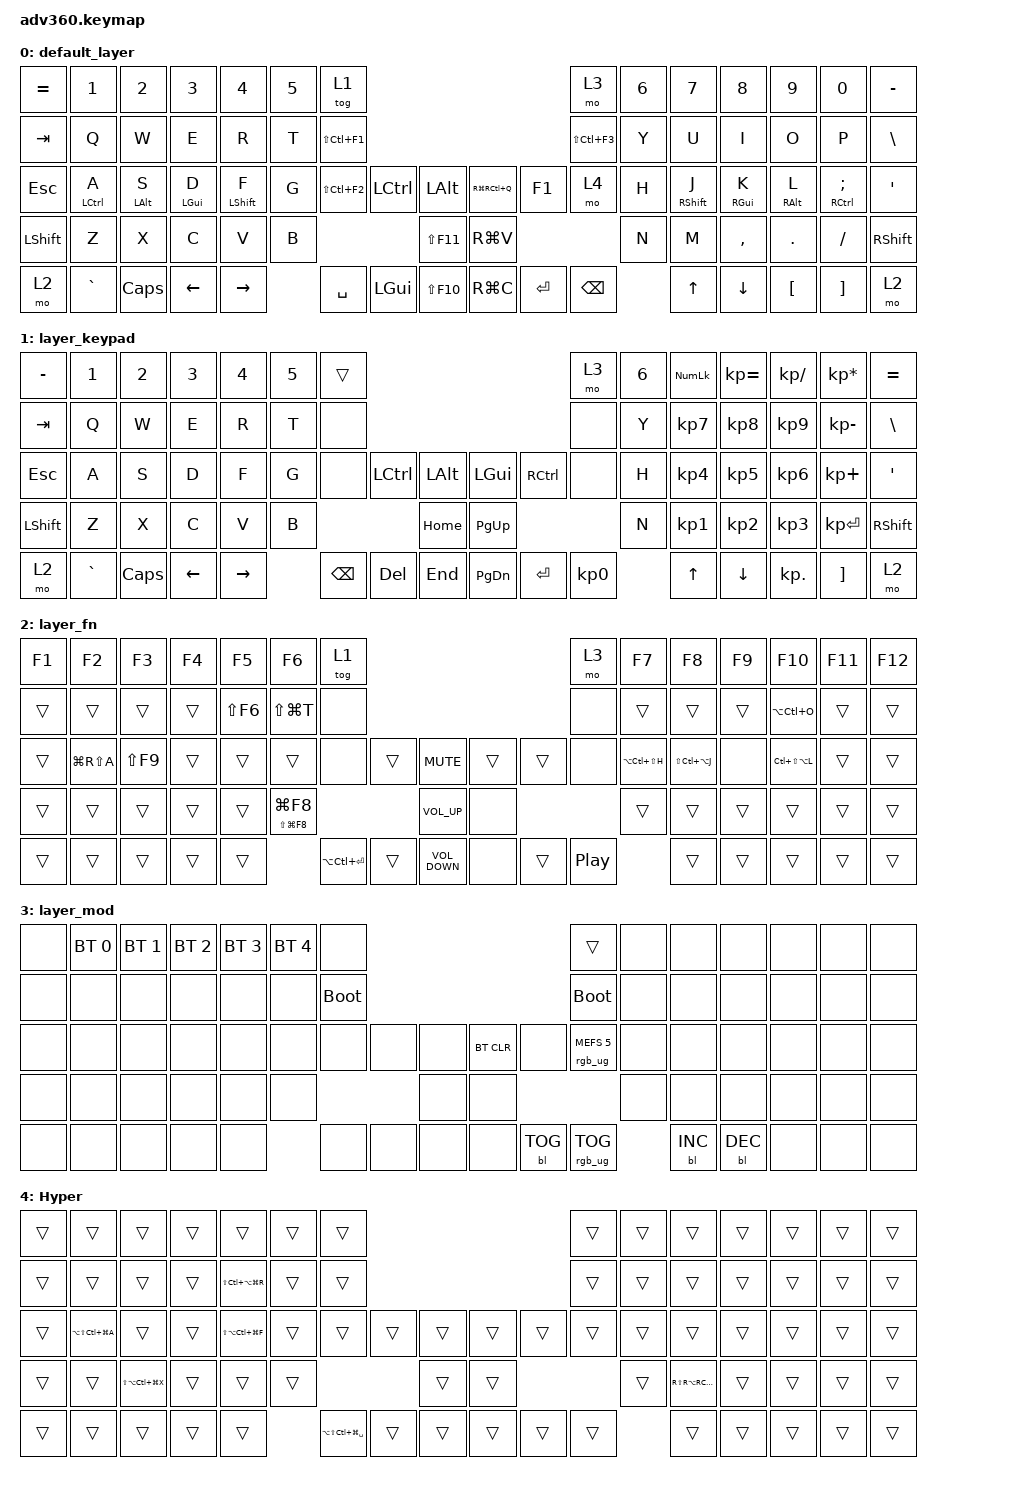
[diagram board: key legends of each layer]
/*
 * Copyright (c) 2020 The ZMK Contributors
 *
 * SPDX-License-Identifier: MIT
 */
/* THIS FILE WAS GENERATED!
 *
 * This file was generated automatically. You may or may not want to
 * edit it directly.
 */

#include <behaviors.dtsi>
#include <dt-bindings/zmk/backlight.h>
#include <dt-bindings/zmk/bt.h>
#include <dt-bindings/zmk/keys.h>
#include <dt-bindings/zmk/rgb.h>

/ {
    behaviors {
        #include "macros.dtsi"
    #include "version.dtsi"

        hm: homerow_mods {
            compatible = "zmk,behavior-hold-tap";
            label = "HOMEROW_MODS";
            #binding-cells = <2>;
            tapping-term-ms = <250>;
            flavor = "tap-preferred";
            bindings = <&kp>, <&kp>;

            require-prior-idle-ms = <150>;
            quick-tap-ms = <200>;
        };
    };

    keymap {
        compatible = "zmk,keymap";

        default_layer {
            bindings = <
&kp EQUAL  &kp N1       &kp N2          &kp N3          &kp N4            &kp N5  &tog 1                                                                &mo 3           &kp N6  &kp N7        &kp N8           &kp N9      &kp N0          &kp MINUS
&kp TAB    &kp Q        &kp W           &kp E           &kp R             &kp T   &kp LS(LC(F1))                                                        &kp LS(LC(F3))  &kp Y   &kp U         &kp I            &kp O       &kp P           &kp BSLH
&kp ESC    &hm LCTRL A  &hm LEFT_ALT S  &hm LEFT_GUI D  &hm LEFT_SHIFT F  &kp G   &kp LS(LC(F2))  &kp LCTRL  &kp LALT         &kp RG(RC(Q))  &kp F1     &mo 4           &kp H   &hm RSHIFT J  &hm RIGHT_GUI K  &hm RALT L  &hm RCTRL SEMI  &kp SQT
&kp LSHFT  &kp Z        &kp X           &kp C           &kp V             &kp B                              &kp LS(F11)      &kp RG(V)                                 &kp N   &kp M         &kp COMMA        &kp DOT     &kp FSLH        &kp RSHFT
&mo 2      &kp GRAVE    &kp CAPSLOCK    &kp LEFT        &kp RIGHT                 &kp SPACE       &kp LGUI   &kp LS(F10)      &kp RG(C)      &kp ENTER  &kp BSPC                &kp UP        &kp DOWN         &kp LBKT    &kp RBKT        &mo 2
            >;
        };

        layer_keypad {
            bindings = <
&kp MINUS  &kp N1     &kp N2    &kp N3    &kp N4     &kp N5  &trans                                                   &mo 3      &kp N6  &kp KP_NUM  &kp KP_EQUAL  &kp KP_DIVIDE  &kp KP_MULTIPLY  &kp EQUAL
&kp TAB    &kp Q      &kp W     &kp E     &kp R      &kp T   &none                                                    &none      &kp Y   &kp KP_N7   &kp KP_N8     &kp KP_N9      &kp KP_MINUS     &kp BSLH
&kp ESC    &kp A      &kp S     &kp D     &kp F      &kp G   &none     &kp LCTRL  &kp LALT      &kp LGUI   &kp RCTRL  &none      &kp H   &kp KP_N4   &kp KP_N5     &kp KP_N6      &kp KP_PLUS      &kp SQT
&kp LSHFT  &kp Z      &kp X     &kp C     &kp V      &kp B                        &kp HOME      &kp PG_UP                        &kp N   &kp KP_N1   &kp KP_N2     &kp KP_N3      &kp KP_ENTER     &kp RSHFT
&mo 2      &kp GRAVE  &kp CAPS  &kp LEFT  &kp RIGHT          &kp BSPC  &kp DEL    &kp END       &kp PG_DN  &kp ENTER  &kp KP_N0          &kp UP      &kp DOWN      &kp KP_DOT     &kp RBKT         &mo 2
            >;
        };

        layer_fn {
            bindings = <
&kp F1  &kp F2         &kp F3      &kp F4  &kp F5      &kp F6                 &tog 1                                                            &mo 3             &kp F7             &kp F8             &kp F9  &kp F10            &kp F11  &kp F12
&trans  &trans         &trans      &trans  &kp LS(F6)  &kp LS(LG(T))          &none                                                             &none             &trans             &trans             &trans  &kp LA(LC(O))      &trans   &trans
&trans  &kp LG(RS(A))  &kp LS(F9)  &trans  &trans      &trans                 &none              &trans  &kp C_MUTE             &trans  &trans  &none             &kp LA(LC(LS(H)))  &kp LS(LC(LA(J)))  &none   &kp LC(LS(LA(L)))  &trans   &trans
&trans  &trans         &trans      &trans  &trans      &hm LS(LG(F8)) LG(F8)                             &kp C_VOLUME_UP        &none                             &trans             &trans             &trans  &trans             &trans   &trans
&trans  &trans         &trans      &trans  &trans                             &kp LA(LC(ENTER))  &trans  &kp C_VOLUME_DOWN      &none   &trans  &kp C_PLAY_PAUSE                     &trans             &trans  &trans             &trans   &trans
            >;
        };

        layer_mod {
            bindings = <
&none  &bt BT_SEL 0  &bt BT_SEL 1  &bt BT_SEL 2  &bt BT_SEL 3  &bt BT_SEL 4  &none                                                  &trans                  &none  &none       &none       &none  &none  &none
&none  &none         &none         &none         &none         &none         &bootloader                                            &bootloader             &none  &none       &none       &none  &none  &none
&none  &none         &none         &none         &none         &none         &none        &none  &none      &bt BT_CLR  &none       &rgb_ug RGB_MEFS_CMD 5  &none  &none       &none       &none  &none  &none
&none  &none         &none         &none         &none         &none                             &none      &none                                           &none  &none       &none       &none  &none  &none
&none  &none         &none         &none         &none                       &none        &none  &none      &none       &bl BL_TOG  &rgb_ug RGB_TOG                &bl BL_INC  &bl BL_DEC  &none  &none  &none
            >;
        };

        Hyper {
            bindings = <
&trans  &trans                 &trans                 &trans  &trans                 &trans  &trans                                                         &trans  &trans  &trans                 &trans  &trans  &trans  &trans
&trans  &trans                 &trans                 &trans  &kp LS(LC(LA(LG(R))))  &trans  &trans                                                         &trans  &trans  &trans                 &trans  &trans  &trans  &trans
&trans  &kp LA(LS(LC(LG(A))))  &trans                 &trans  &kp LS(LA(LC(LG(F))))  &trans  &trans                     &trans  &trans      &trans  &trans  &trans  &trans  &trans                 &trans  &trans  &trans  &trans
&trans  &trans                 &kp LS(LA(LC(LG(X))))  &trans  &trans                 &trans                                     &trans      &trans                  &trans  &kp RS(RA(RC(RG(M))))  &trans  &trans  &trans  &trans
&trans  &trans                 &trans                 &trans  &trans                         &kp LA(LS(LC(LG(SPACE))))  &trans  &trans      &trans  &trans  &trans          &trans                 &trans  &trans  &trans  &trans
            >;
        };
    };
};
